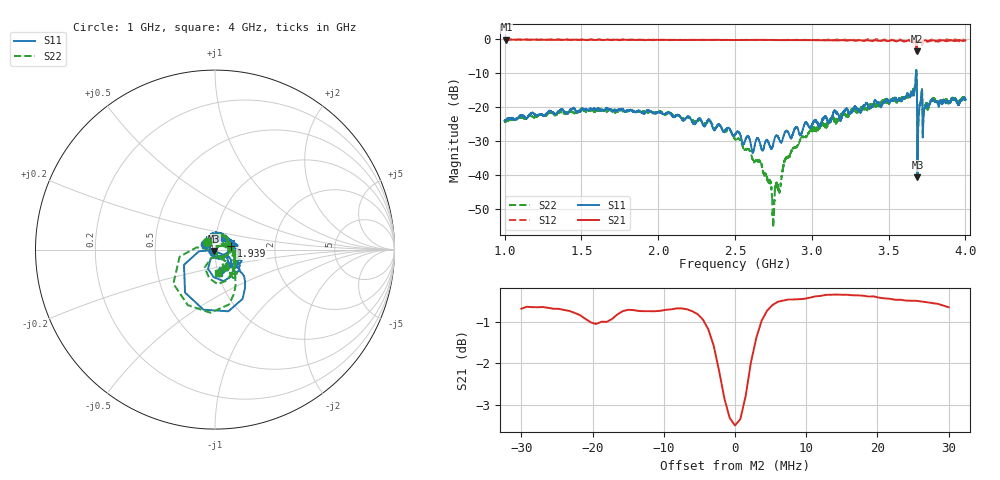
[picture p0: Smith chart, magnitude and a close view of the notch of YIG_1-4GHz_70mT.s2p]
#  HZ  S  RI  R  50.0
! Rohde & Schwarz ZVL13 2Ports - Version 3.31 - 1303.6509k13 SN: 101088
! Date: 2023-03-06 14:42:07
! Data & Calibration Information:
! Trc4:S11(TOSM) Trc2:S21(TOSM) Trc3:S12(TOSM) Trc5:S22(TOSM)
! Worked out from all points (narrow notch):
!   4000 points, 1 GHz to 4 GHz, reference 50 ohm
!   highest |S21| = -0.05 dB at 1.012 GHz (marker M1); lowest = -3.5 dB at 3.682 GHz (marker M2)
!   notch at M2: 3.3 dB deep, 5.07 MHz wide at half that depth
!   lowest |S11| = -40.5 dB at 3.688 GHz (marker M3), VSWR 1.02, Z = 49.5 - j0.781 ohm
!   |S11| at or under -10 dB: start of sweep to 3.678 GHz; 3.682 GHz to end of sweep
!   |S22| runs from -55.4 to -9.0 dB; largest |S21 - S12| = 0.078
!   S11 on the Smith chart (normalised r, x): 1 GHz: 0.89, +0.06; 1.939 GHz: 1.19, +0.04; 4 GHz: 1.01, -0.27
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1e9  -0.0545 0.0336  -0.609 -0.7831  -0.6157 -0.7817  -0.0459 0.0399
1.012003e9  -0.0526 0.038  -0.6341 -0.7659  -0.6268 -0.7616  -0.0469 0.0417
1.255064e9  -0.0269 0.0691  -0.933 -0.3235  -0.9413 -0.3312  -0.0152 0.075
1.500375e9  0.0203 0.0915  -0.967 0.2025  -0.9728 0.1966  0.0395 0.084
1.939235e9  0.0886 0.0181  -0.368 0.914  -0.3595 0.9136  0.0841 0.00726
2e9  0.0849 0.00391  -0.2378 0.9552  -0.234 0.9559  0.0855 -0.00369
2.23931e9  0.0447 -0.0346  0.282 0.9413  0.2886 0.9445  0.0495 -0.0374
2.500375e9  -0.0112 -0.0383  0.7512 0.6275  0.7514 0.6241  0.0101 -0.0327
2.663916e9  -0.0207 -0.02  0.9306 0.3148  0.929 0.3136  -0.00285 -0.0156
2.722431e9  -0.028 -0.00635  0.9622 0.1878  0.9643 0.1898  -0.000794 -0.00843
2.750188e9  -0.0283 0.00862  0.9708 0.1248  0.9732 0.1203  0.00154 -0.00136
2.830458e9  -0.0303 0.0324  0.975 -0.0476  0.9794 -0.0432  0.0128 0.0131
3e9  0.00919 0.0541  0.8864 -0.4083  0.8963 -0.4107  0.0318 0.0341
3.268567e9  0.0782 0.0433  0.4796 -0.8381  0.4896 -0.8565  0.0922 0.0144
3.500375e9  0.1214 -0.00961  0.0155 -0.9462  0.0103 -0.9404  0.1048 -0.0412
3.669167e9  0.1382 -0.1176  -0.3555 -0.8461  -0.3887 -0.8864  0.1142 -0.1529
3.68192e9  -0.1238 -0.2945  -0.2364 -0.6247  -0.2392 -0.5856  -0.2038 -0.2568
3.687922e9  -0.0051 -0.00789  -0.2549 -0.9067  -0.2924 -0.9191  -0.0134 -0.00528
3.699925e9  0.0838 -0.0498  -0.3777 -0.8805  -0.3891 -0.8433  0.0629 -0.0712
3.706677e9  0.0915 -0.0673  -0.4032 -0.8543  -0.3736 -0.8395  0.0677 -0.091
3.788447e9  0.0867 -0.0983  -0.5514 -0.7949  -0.5862 -0.7807  0.0719 -0.1139
4e9  0.0227 -0.129  -0.8486 -0.4573  -0.8648 -0.4122  0.0157 -0.1249
